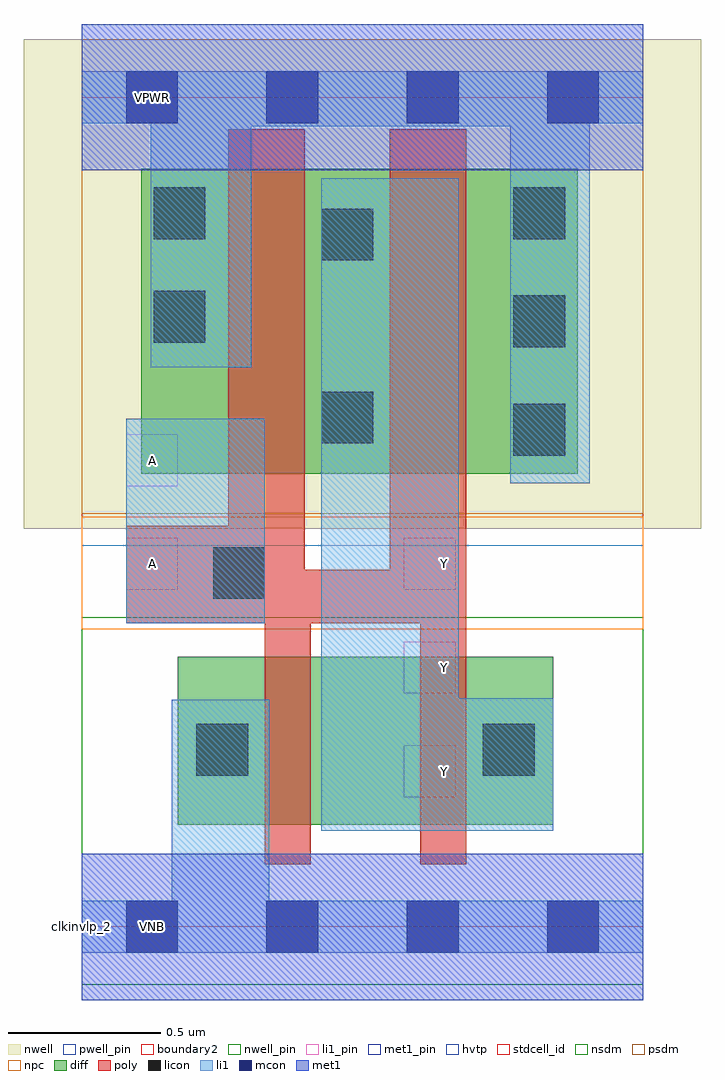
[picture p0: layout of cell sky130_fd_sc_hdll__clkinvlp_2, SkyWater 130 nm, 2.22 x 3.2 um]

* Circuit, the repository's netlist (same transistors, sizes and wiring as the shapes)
* Copyright 2020 The SkyWater PDK Authors
*
* Licensed under the Apache License, Version 2.0 (the "License");
* you may not use this file except in compliance with the License.
* You may obtain a copy of the License at
*
*     https://www.apache.org/licenses/LICENSE-2.0
*
* Unless required by applicable law or agreed to in writing, software
* distributed under the License is distributed on an "AS IS" BASIS,
* WITHOUT WARRANTIES OR CONDITIONS OF ANY KIND, either express or implied.
* See the License for the specific language governing permissions and
* limitations under the License.
*
* SPDX-License-Identifier: Apache-2.0

.SUBCKT sky130_fd_sc_hdll__clkinvlp_2 A VGND VNB VPB VPWR Y
*.PININFO A:I VGND:I VNB:I VPB:I VPWR:I Y:O
MMIP0 Y A VPWR VPB sky130_fd_pr__pfet_01v8_hvt m=2 w=1.0U l=0.25U mult=1 sa=0.265
+ sb=0.265 sd=0.28 area=0.063 perim=1.14
MI5 net24 A VGND VNB sky130_fd_pr__nfet_01v8 m=1 w=0.55U l=0.15U mult=1 sa=0.265
+ sb=0.265 sd=0.28 area=0.063 perim=1.14
MMIN0 Y A net24 VNB sky130_fd_pr__nfet_01v8 m=1 w=0.55U l=0.15U mult=1 sa=0.265
+ sb=0.265 sd=0.28 area=0.063 perim=1.14
.ENDS sky130_fd_sc_hdll__clkinvlp_2

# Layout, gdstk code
import gdstk
lib = gdstk.Library(unit=1e-6, precision=1e-09)
def R(c, l, rs):  # rectangles x0, y0, x1, y1
    for r in rs: c.add(gdstk.rectangle(r[:2], r[2:], *l))
def A(c, l, x, y, w, h, nx, ny, dx, dy):  # array of equal rectangles
    R(c, l, [(x+i*dx, y+j*dy, x+i*dx+w, y+j*dy+h) for i in range(nx) for j in range(ny)])
def P(c, l, *ps):  # polygons
    for p in ps: c.add(gdstk.Polygon(p, *l))
nwell_pin = (64, 16)
nwell = (64, 20)
diff = (65, 20)
poly = (66, 20)
licon = (66, 44)
li1_pin = (67, 16)
li1 = (67, 20)
mcon = (67, 44)
met1_pin = (68, 16)
met1 = (68, 20)
hvtp = (78, 44)
stdcell_id = (81, 4)
nsdm = (93, 44)
psdm = (94, 20)
npc = (95, 20)
pwell_pin = (122, 16)
boundary2 = (236, 0)

sky130_fd_sc_hdll__clkin = lib.new_cell('sky130_fd_sc_hdll__clkinvlp_2')
R(sky130_fd_sc_hdll__clkin, nwell_pin, [(0.145,2.635,0.315,2.805)])
R(sky130_fd_sc_hdll__clkin, nwell, [(-0.19,1.305,2.03,2.91)])
R(sky130_fd_sc_hdll__clkin, diff, [(0.315,0.335,1.545,0.885), (0.195,1.485,1.625,2.485)])
P(sky130_fd_sc_hdll__clkin, poly, [(1.26,2.615),(1.01,2.615),(1.01,1.17),(0.73,1.17),(0.73,2.615),(0.48,2.615),(0.48,1.315),(0.145,1.315),(0.145,0.995),(0.6,0.995),(0.6,0.205),(0.75,0.205),(0.75,0.995),(1.11,0.995),(1.11,0.205),(1.26,0.205)])
A(sky130_fd_sc_hdll__clkin, licon, 1.415, 1.545, 0.17, 0.17, 1, 3, 0, 0.355)
R(sky130_fd_sc_hdll__clkin, licon, [(0.375,0.495,0.545,0.665), (1.315,0.495,1.485,0.665), (0.43,1.075,0.6,1.245), (0.785,1.585,0.955,1.755), (0.235,1.915,0.405,2.085), (0.785,2.185,0.955,2.355), (0.235,2.255,0.405,2.425)])
A(sky130_fd_sc_hdll__clkin, li1_pin, 1.055, 0.425, 0.17, 0.17, 1, 3, 0, 0.34)
R(sky130_fd_sc_hdll__clkin, li1_pin, [(0.145,1.105,0.315,1.275), (0.145,1.445,0.315,1.615)])
R(sky130_fd_sc_hdll__clkin, li1, [(0.145,0.995,0.6,1.665)])
P(sky130_fd_sc_hdll__clkin, li1, [(1.84,0.085),(0.615,0.085),(0.615,0.745),(0.295,0.745),(0.295,0.085),(0,0.085),(0,-0.085),(1.84,-0.085)],
  [(1.84,2.805),(0,2.805),(0,2.635),(0.225,2.635),(0.225,1.835),(0.555,1.835),(0.555,2.625),(1.405,2.625),(1.405,1.455),(1.665,1.455),(1.665,2.635),(1.84,2.635)],
  [(1.545,0.75),(1.235,0.75),(1.235,2.455),(0.785,2.455),(0.785,0.315),(1.545,0.315)])
A(sky130_fd_sc_hdll__clkin, mcon, 0.145, -0.085, 0.17, 0.17, 4, 2, 0.46, 2.72)
R(sky130_fd_sc_hdll__clkin, met1_pin, [(0.145,-0.085,0.315,0.085), (0.145,2.635,0.315,2.805)])
R(sky130_fd_sc_hdll__clkin, met1, [(0,-0.24,1.84,0.24), (0,2.48,1.84,2.96)])
R(sky130_fd_sc_hdll__clkin, hvtp, [(0,1.25,1.84,2.72)])
R(sky130_fd_sc_hdll__clkin, stdcell_id, [(0,0,1.84,2.72)])
R(sky130_fd_sc_hdll__clkin, nsdm, [(0,-0.19,1.84,1.015)])
R(sky130_fd_sc_hdll__clkin, psdm, [(0,1.355,1.84,2.91)])
R(sky130_fd_sc_hdll__clkin, npc, [(0,0.975,1.84,1.345)])
R(sky130_fd_sc_hdll__clkin, pwell_pin, [(0.145,-0.085,0.315,0.085)])
R(sky130_fd_sc_hdll__clkin, boundary2, [(0,0,1.84,2.72)])
sky130_fd_sc_hdll__clkin.add(gdstk.Label('VNB', (0.23,0), layer=64, texttype=59))
sky130_fd_sc_hdll__clkin.add(gdstk.Label('VPWR', (0.23,2.72), layer=68, texttype=5))
sky130_fd_sc_hdll__clkin.add(gdstk.Label('VGND', (0.23,0), layer=68, texttype=5))
sky130_fd_sc_hdll__clkin.add(gdstk.Label('VPB', (0.23,2.72), layer=64, texttype=5))
sky130_fd_sc_hdll__clkin.add(gdstk.Label('Y', (1.19,0.85), layer=67, texttype=5))
sky130_fd_sc_hdll__clkin.add(gdstk.Label('Y', (1.19,1.19), layer=67, texttype=5))
sky130_fd_sc_hdll__clkin.add(gdstk.Label('A', (0.23,1.53), layer=67, texttype=5))
sky130_fd_sc_hdll__clkin.add(gdstk.Label('Y', (1.19,0.51), layer=67, texttype=5))
sky130_fd_sc_hdll__clkin.add(gdstk.Label('A', (0.23,1.19), layer=67, texttype=5))
sky130_fd_sc_hdll__clkin.add(gdstk.Label('clkinvlp_2', (0,0), layer=83, texttype=44))

lib.write_gds('sky130_fd_sc_hdll__clkinvlp_2.gds')
